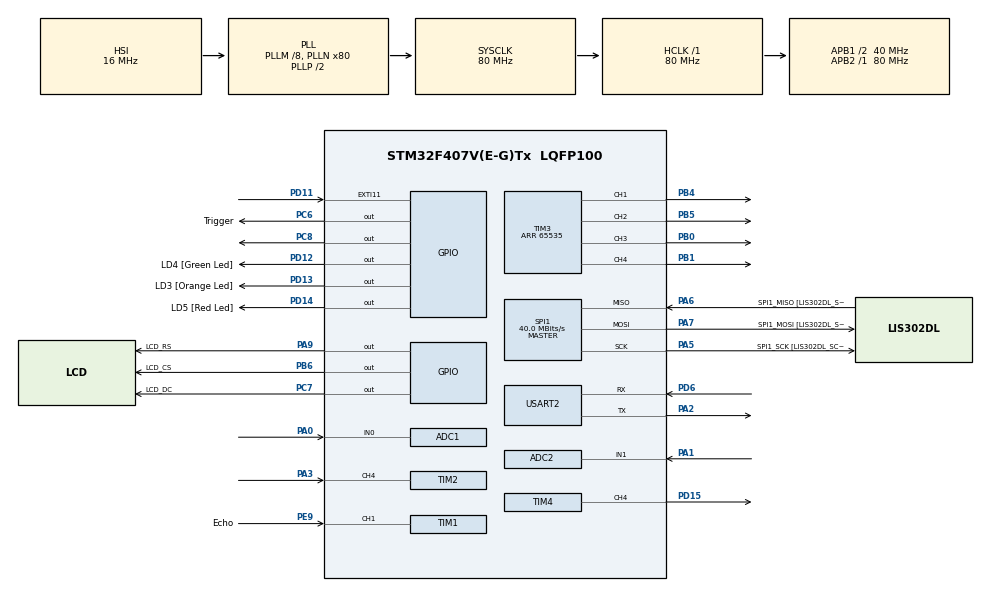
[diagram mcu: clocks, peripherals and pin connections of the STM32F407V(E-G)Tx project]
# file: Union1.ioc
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ADC1.Channel-0\#ChannelRegularConversion=ADC_CHANNEL_0
ADC1.ClockPrescaler=ADC_CLOCK_SYNC_PCLK_DIV4
ADC1.ContinuousConvMode=DISABLE
ADC1.DMAContinuousRequests=DISABLE
ADC1.DataAlign=ADC_DATAALIGN_RIGHT
ADC1.DiscontinuousConvMode=DISABLE
ADC1.EOCSelection=ADC_EOC_SINGLE_CONV
ADC1.EnableAnalogWatchDog=false
ADC1.ExternalTrigConv=ADC_SOFTWARE_START
ADC1.ExternalTrigConvEdge=ADC_EXTERNALTRIGCONVEDGE_NONE
ADC1.InjNumberOfConversion=0
ADC1.NbrOfConversion=1
ADC1.NbrOfConversionFlag=1
ADC1.Rank-0\#ChannelRegularConversion=1
ADC1.Resolution=ADC_RESOLUTION_8B
ADC1.SamplingTime-0\#ChannelRegularConversion=ADC_SAMPLETIME_3CYCLES
ADC1.ScanConvMode=DISABLE
ADC1.master=1
ADC2.Channel-0\#ChannelRegularConversion=ADC_CHANNEL_1
ADC2.ClockPrescaler=ADC_CLOCK_SYNC_PCLK_DIV4
ADC2.ContinuousConvMode=DISABLE
ADC2.DMAContinuousRequests=DISABLE
ADC2.DataAlign=ADC_DATAALIGN_RIGHT
ADC2.DiscontinuousConvMode=DISABLE
ADC2.EOCSelection=ADC_EOC_SINGLE_CONV
ADC2.EnableAnalogWatchDog=false
ADC2.ExternalTrigConv=ADC_SOFTWARE_START
ADC2.ExternalTrigConvEdge=ADC_EXTERNALTRIGCONVEDGE_NONE
ADC2.InjNumberOfConversion=0
ADC2.NbrOfConversion=1
ADC2.NbrOfConversionFlag=1
ADC2.Rank-0\#ChannelRegularConversion=1
ADC2.Resolution=ADC_RESOLUTION_8B
ADC2.SamplingTime-0\#ChannelRegularConversion=ADC_SAMPLETIME_3CYCLES
ADC2.ScanConvMode=DISABLE
Mcu.Family=STM32F4
Mcu.Name=STM32F407V(E-G)Tx
Mcu.Package=LQFP100
NVIC.EXTI15_10_IRQn=true\:0\:0\:false\:false\:true\:true
NVIC.PriorityGroup=NVIC_PRIORITYGROUP_4
NVIC.TIM1_CC_IRQn=true\:0\:0\:false\:false\:true\:true
NVIC.TIM2_IRQn=true\:0\:0\:false\:false\:true\:true
PA0-WKUP.Signal=ADCx_IN0
PA1.Signal=ADCx_IN1
PA10.GPIO_Label=OTG_FS_ID
PA10.GPIO_Mode=GPIO_MODE_AF_PP
PA10.GPIO_PuPd=GPIO_NOPULL
PA10.GPIO_Speed=GPIO_SPEED_FREQ_LOW
PA10.Signal=USB_OTG_FS_ID
PA11.GPIO_Label=OTG_FS_DM
PA11.GPIO_Mode=GPIO_MODE_AF_PP
PA11.GPIO_PuPd=GPIO_NOPULL
PA11.GPIO_Speed=GPIO_SPEED_FREQ_LOW
PA11.Signal=USB_OTG_FS_DM
PA12.GPIO_Label=OTG_FS_DP
PA12.GPIO_Mode=GPIO_MODE_AF_PP
PA12.GPIO_PuPd=GPIO_NOPULL
PA12.GPIO_Speed=GPIO_SPEED_FREQ_LOW
PA12.Signal=USB_OTG_FS_DP
PA13.GPIO_Label=SWDIO
PA13.Signal=SYS_JTMS-SWDIO
PA14.GPIO_Label=SWCLK
PA14.Signal=SYS_JTCK-SWCLK
PA2.Mode=Asynchronous
PA2.Signal=USART2_TX
PA3.Signal=S_TIM2_CH4
PA4.GPIO_Label=I2S3_WS [CS43L22_LRCK]
PA4.GPIO_Mode=GPIO_MODE_AF_PP
PA4.GPIO_PuPd=GPIO_NOPULL
PA4.GPIO_Speed=GPIO_SPEED_FREQ_LOW
PA4.Signal=I2S3_WS
PA5.GPIO_Label=SPI1_SCK [LIS302DL_SCL/SPC]
PA5.GPIO_Mode=GPIO_MODE_AF_PP
PA5.GPIO_PuPd=GPIO_NOPULL
PA5.GPIO_Speed=GPIO_SPEED_FREQ_VERY_HIGH
PA5.Mode=Full_Duplex_Master
PA5.Signal=SPI1_SCK
PA6.GPIO_Label=SPI1_MISO [LIS302DL_SDO]
PA6.GPIO_Mode=GPIO_MODE_AF_PP
PA6.GPIO_PuPd=GPIO_NOPULL
PA6.GPIO_Speed=GPIO_SPEED_FREQ_VERY_HIGH
PA6.Mode=Full_Duplex_Master
PA6.Signal=SPI1_MISO
PA7.GPIO_Label=SPI1_MOSI [LIS302DL_SDA/SDI/SDO]
PA7.GPIO_Mode=GPIO_MODE_AF_PP
PA7.GPIO_PuPd=GPIO_NOPULL
PA7.GPIO_Speed=GPIO_SPEED_FREQ_VERY_HIGH
PA7.Mode=Full_Duplex_Master
PA7.Signal=SPI1_MOSI
PA9.GPIO_Label=LCD_RS
PA9.Signal=GPIO_Output
PB0.Signal=S_TIM3_CH3
PB1.Signal=S_TIM3_CH4
PB10.GPIO_Label=CLK_IN [MP45DT02_CLK]
PB10.GPIO_Mode=GPIO_MODE_AF_PP
PB10.GPIO_PuPd=GPIO_NOPULL
PB10.GPIO_Speed=GPIO_SPEED_FREQ_LOW
PB10.Signal=I2S2_CK
PB3.GPIO_Label=SWO
PB3.Signal=SYS_JTDO-SWO
PB4.Signal=S_TIM3_CH1
PB5.Signal=S_TIM3_CH2
PB6.GPIO_Label=LCD_CS
PB6.Signal=GPIO_Output
PB9.GPIO_Label=Audio_SDA [CS43L22_SDA]
PB9.GPIO_Mode=GPIO_MODE_AF_OD
PB9.GPIO_PuPd=GPIO_NOPULL
PB9.GPIO_Speed=GPIO_SPEED_FREQ_LOW
PB9.Signal=I2C1_SDA
PC10.GPIO_Label=I2S3_SCK [CS43L22_SCLK]
PC10.GPIO_Mode=GPIO_MODE_AF_PP
PC10.GPIO_PuPd=GPIO_NOPULL
PC10.GPIO_Speed=GPIO_SPEED_FREQ_LOW
PC10.Signal=I2S3_CK
PC12.GPIO_Label=I2S3_SD [CS43L22_SDIN]
PC12.GPIO_Mode=GPIO_MODE_AF_PP
PC12.GPIO_PuPd=GPIO_NOPULL
PC12.GPIO_Speed=GPIO_SPEED_FREQ_LOW
PC12.Signal=I2S3_SD
PC14-OSC32_IN.GPIO_Label=PC14-OSC32_IN
PC14-OSC32_IN.Mode=LSE-External-Oscillator
PC14-OSC32_IN.Signal=RCC_OSC32_IN
PC15-OSC32_OUT.GPIO_Label=PC15-OSC32_OUT
PC15-OSC32_OUT.Mode=LSE-External-Oscillator
PC15-OSC32_OUT.Signal=RCC_OSC32_OUT
PC3.GPIO_Label=PDM_OUT [MP45DT02_DOUT]
PC3.GPIO_Mode=GPIO_MODE_AF_PP
PC3.GPIO_PuPd=GPIO_NOPULL
PC3.GPIO_Speed=GPIO_SPEED_FREQ_LOW
PC3.Signal=I2S2_SD
PC6.GPIO_Label=Trigger
PC6.Signal=GPIO_Output
PC7.GPIO_Label=LCD_DC
PC7.Signal=GPIO_Output
PC8.Signal=GPIO_Output
PD11.Signal=GPXTI11
PD12.GPIO_Label=LD4 [Green Led]
PD12.GPIO_PuPd=GPIO_NOPULL
PD12.GPIO_Speed=GPIO_SPEED_FREQ_LOW
PD12.Signal=GPIO_Output
PD13.GPIO_Label=LD3 [Orange Led]
PD13.GPIO_PuPd=GPIO_NOPULL
PD13.GPIO_Speed=GPIO_SPEED_FREQ_LOW
PD13.Signal=GPIO_Output
PD14.GPIO_Label=LD5 [Red Led]
PD14.GPIO_PuPd=GPIO_NOPULL
PD14.GPIO_Speed=GPIO_SPEED_FREQ_LOW
PD14.Signal=GPIO_Output
PD15.Signal=S_TIM4_CH4
PD6.Mode=Asynchronous
PD6.Signal=USART2_RX
PE9.GPIO_Label=Echo
PE9.Signal=S_TIM1_CH1
PH0-OSC_IN.GPIO_Label=PH0-OSC_IN
PH0-OSC_IN.Mode=HSE-External-Oscillator
PH0-OSC_IN.Signal=RCC_OSC_IN
PH1-OSC_OUT.GPIO_Label=PH1-OSC_OUT
PH1-OSC_OUT.Mode=HSE-External-Oscillator
PH1-OSC_OUT.Signal=RCC_OSC_OUT
ProjectManager.HeapSize=0x200
ProjectManager.StackSize=0x400
ProjectManager.TargetToolchain=MDK-ARM V5
RCC.48MHZClocksFreq_Value=22857142.85714286
RCC.AHBFreq_Value=80000000
RCC.APB1CLKDivider=RCC_HCLK_DIV2
RCC.APB1Freq_Value=40000000
RCC.APB1TimFreq_Value=80000000
RCC.APB2Freq_Value=80000000
RCC.APB2TimFreq_Value=80000000
RCC.CortexFreq_Value=80000000
RCC.HCLKFreq_Value=80000000
RCC.HSE_VALUE=8000000
RCC.HSI_VALUE=16000000
RCC.PLLM=8
RCC.PLLN=80
RCC.PLLQ=7
RCC.SYSCLKFreq_VALUE=80000000
RCC.SYSCLKSource=RCC_SYSCLKSOURCE_PLLCLK
RCC.VCOOutputFreq_Value=160000000
SH.ADCx_IN0.0=ADC1_IN0,IN0
SH.ADCx_IN1.0=ADC2_IN1,IN1
SH.S_TIM1_CH1.0=TIM1_CH1,Input_Capture1_from_TI1
SH.S_TIM2_CH4.0=TIM2_CH4,Input_Capture4_from_TI4
SH.S_TIM3_CH1.0=TIM3_CH1,PWM Generation1 CH1
SH.S_TIM3_CH2.0=TIM3_CH2,PWM Generation2 CH2
SH.S_TIM3_CH3.0=TIM3_CH3,PWM Generation3 CH3
SH.S_TIM3_CH4.0=TIM3_CH4,PWM Generation4 CH4
SH.S_TIM4_CH4.0=TIM4_CH4,PWM Generation4 CH4
SPI1.BaudRatePrescaler=SPI_BAUDRATEPRESCALER_2
SPI1.CalculateBaudRate=40.0 MBits/s
SPI1.Direction=SPI_DIRECTION_2LINES
SPI1.Mode=SPI_MODE_MASTER
SPI1.VirtualType=VM_MASTER
TIM1.Channel-Input_Capture1_from_TI1=TIM_CHANNEL_1
TIM1.ICPolarity_CH1=TIM_INPUTCHANNELPOLARITY_BOTHEDGE
TIM1.Period=20000
TIM1.Prescaler=100
TIM2.Channel-Input_Capture4_from_TI4=TIM_CHANNEL_4
TIM2.ICFilter_CH4=15
TIM2.Period=100000
TIM2.Prescaler=16000
TIM3.Channel-PWM\ Generation1\ CH1=TIM_CHANNEL_1
TIM3.Channel-PWM\ Generation2\ CH2=TIM_CHANNEL_2
TIM3.Channel-PWM\ Generation3\ CH3=TIM_CHANNEL_3
TIM3.Channel-PWM\ Generation4\ CH4=TIM_CHANNEL_4
TIM3.Period=65535
TIM4.Channel-PWM\ Generation4\ CH4=TIM_CHANNEL_4
TIM4.Period=625
TIM4.Prescaler=10
TIM4.Pulse-PWM\ Generation4\ CH4=100
USART2.VirtualMode=VM_ASYNC
VP_TIM1_VS_ClockSourceINT.Mode=Internal
VP_TIM2_VS_ClockSourceINT.Mode=Internal
VP_TIM3_VS_ClockSourceINT.Mode=Internal
VP_TIM4_VS_ClockSourceINT.Mode=Internal
board=STM32F4DISCOVERY

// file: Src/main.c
/**
  ******************************************************************************
  * @file           : main.c
  * @brief          : Main program body
  ******************************************************************************
  ** This notice applies to any and all portions of this file
  * that are not between comment pairs USER CODE BEGIN and
  * USER CODE END. Other portions of this file, whether
  * inserted by the user or by software development tools
  * are owned by their respective copyright owners.
  *
  * COPYRIGHT(c) 2019 STMicroelectronics
  *
  * Redistribution and use in source and binary forms, with or without modification,
  * are permitted provided that the following conditions are met:
  *   1. Redistributions of source code must retain the above copyright notice,
  *      this list of conditions and the following disclaimer.
  *   2. Redistributions in binary form must reproduce the above copyright notice,
  *      this list of conditions and the following disclaimer in the documentation
  *      and/or other materials provided with the distribution.
  *   3. Neither the name of STMicroelectronics nor the names of its contributors
  *      may be used to endorse or promote products derived from this software
  *      without specific prior written permission.
  *
  * THIS SOFTWARE IS PROVIDED BY THE COPYRIGHT HOLDERS AND CONTRIBUTORS "AS IS"
  * AND ANY EXPRESS OR IMPLIED WARRANTIES, INCLUDING, BUT NOT LIMITED TO, THE
  * IMPLIED WARRANTIES OF MERCHANTABILITY AND FITNESS FOR A PARTICULAR PURPOSE ARE
  * DISCLAIMED. IN NO EVENT SHALL THE COPYRIGHT HOLDER OR CONTRIBUTORS BE LIABLE
  * FOR ANY DIRECT, INDIRECT, INCIDENTAL, SPECIAL, EXEMPLARY, OR CONSEQUENTIAL
  * DAMAGES (INCLUDING, BUT NOT LIMITED TO, PROCUREMENT OF SUBSTITUTE GOODS OR
  * SERVICES; LOSS OF USE, DATA, OR PROFITS; OR BUSINESS INTERRUPTION) HOWEVER
  * CAUSED AND ON ANY THEORY OF LIABILITY, WHETHER IN CONTRACT, STRICT LIABILITY,
  * OR TORT (INCLUDING NEGLIGENCE OR OTHERWISE) ARISING IN ANY WAY OUT OF THE USE
  * OF THIS SOFTWARE, EVEN IF ADVISED OF THE POSSIBILITY OF SUCH DAMAGE.
  *
  ******************************************************************************
  */
#include "main.h"
#include "stm32f4xx_hal.h"

/* USER CODE BEGIN Includes */
#include "MY_ILI9341.h"
/* USER CODE END Includes */

ADC_HandleTypeDef hadc1;
ADC_HandleTypeDef hadc2;

SPI_HandleTypeDef hspi1;

TIM_HandleTypeDef htim1;
TIM_HandleTypeDef htim2;
TIM_HandleTypeDef htim3;
TIM_HandleTypeDef htim4;

UART_HandleTypeDef huart2;

/* USER CODE BEGIN PV */
/* Private variables ---------------------------------------------------------*/
ADC_HandleTypeDef hadc1;
ADC_HandleTypeDef hadc2;
/* USER CODE END PV */

void SystemClock_Config(void);
static void MX_GPIO_Init(void);
static void MX_ADC1_Init(void);
static void MX_TIM1_Init(void);
static void MX_TIM2_Init(void);
static void MX_TIM4_Init(void);
static void MX_ADC2_Init(void);
static void MX_TIM3_Init(void);
static void MX_SPI1_Init(void);
static void MX_USART2_UART_Init(void);

void HAL_TIM_MspPostInit(TIM_HandleTypeDef *htim);

/* USER CODE BEGIN PFP */
/* Private function prototypes -----------------------------------------------*/

void Dibujado_Pantalla(void);//Dibujamos la interface inicial
void Dibujado_on(int X); //Funcion dibujo rectangulo verde en pantalla, se envia posicion como parametro
void Dibujado_off(int X);//Funcion dibujo rectangulo rojo en pantalla, se envia posicion como parametro
void Inte_Debounce(void);
void Inte_Tempo(void);
void Ultrasonidos(void);
void Potenciometro(void);
void Dibujado_Potenciometro(int V);
void LDR_ (void);

/* USER CODE END PFP */

/* USER CODE BEGIN 0 */
//Variables para el interruptor con temporizacion
uint32_t counterVal;
uint32_t inputCaptureVal;

//sensor de proximidad

//uint16_t timer=0;
//uint16_t pmw;
 //volatile uint16_t reflextime=0;
float distancia=0;
uint16_t echo=0;
volatile int aux=0;
int aux1=0;
int aux2=0;
int aux3=0;

//uint32_t echodelay1=0;
 //uint32_t echodelay=0;
uint32_t counterVal1;
uint32_t inputCaptureVal1=0;
uint32_t inputCaptureVal2=0;

//Callback, se llama cuando se presiona el botСn PA3
void HAL_TIM_IC_CaptureCallback(TIM_HandleTypeDef *htim)
{
  /* Prevent unused argument(s) compilation warning */
  //UNUSED(htim);
  /* NOTE : This function Should not be modified, when the callback is needed,
            the __HAL_TIM_IC_CaptureCallback could be implemented in the user file
   */
	//Comprobar que viene del timer 2

	if (htim->Instance==TIM2)
		{
		inputCaptureVal = __HAL_TIM_GetCounter(htim);
		__HAL_TIM_SetCounter(htim,0);

	  }

		//Parte de la interrupcion para medir el pulso de sensor de ultrasonidos
		if ( htim->Instance==TIM1==1){

			inputCaptureVal1 = __HAL_TIM_GetCounter(htim);
		__HAL_TIM_SetCounter(htim,0);

   }

}

//Variables para el interruptor debounce

uint16_t Statein1=0;//estaba a 3
uint16_t LEDFlash=0;//no se usa ahora

uint16_t estadoA=0;
uint16_t estadoB=1;

void ConfigureSystick(void)
{
	if(SysTick_Config(SystemCoreClock/1000))
	{
		while(1);
	}
}

//sensor de proximidad

//Callback, para el sensor de ultrasonido ,como se repite ,lo he introducido con el de la temporizacion del interruptor

/*void HAL_TIM_IC_CaptureCallback(TIM_HandleTypeDef *htim)
{

	//Comprobar que viene del timer 2
	if ( htim->Instance==TIM1==1){

			inputCaptureVal1 = __HAL_TIM_GetCounter(htim);
		__HAL_TIM_SetCounter(htim,0);

   }
}
*/
//Variables del potenciometro
volatile uint8_t ADC_val;
volatile uint8_t duty_cycle;

//VARIABLES DEL LDR
 int PWM=0;
int a=1;
uint32_t LDR=0;
int timer=0;

/* USER CODE END 0 */

int main(void)
{

  /* MCU Configuration----------------------------------------------------------*/

  /* Reset of all peripherals, Initializes the Flash interface and the Systick. */
  HAL_Init();

  /* Configure the system clock */
  SystemClock_Config();

  /* Initialize all configured peripherals */
  MX_GPIO_Init();
  MX_ADC1_Init();
  MX_TIM1_Init();
  MX_TIM2_Init();
  MX_TIM4_Init();
  MX_ADC2_Init();
  MX_TIM3_Init();
  MX_SPI1_Init();
  MX_USART2_UART_Init();
  /* USER CODE BEGIN 2 */

		Dibujado_Pantalla();
  	Dibujado_off(60);
		HAL_TIM_IC_Start_IT(&htim2,TIM_CHANNEL_4);
	//temp de echo
	HAL_TIM_IC_Start_IT(&htim1,TIM_CHANNEL_1);
	//led del ldr
	HAL_TIM_PWM_Start(&htim3, TIM_CHANNEL_2);//Inicializamos los canales
HAL_TIM_PWM_Start(&htim3, TIM_CHANNEL_3);
HAL_TIM_PWM_Start(&htim3, TIM_CHANNEL_4);
HAL_TIM_PWM_Start(&htim3, TIM_CHANNEL_1);//todos cambiados a htim3
HAL_ADC_Start (&hadc2);//cambiado a hadcl2
TIM3->CCR1=50000;

//potenciometro para regular la intensidad
 HAL_TIM_PWM_Start(&htim4, TIM_CHANNEL_4);

 //variables del ldr
/* int PWM=0;
int a=1;
uint32_t LDR=0;
int timer=0;*/

  /* USER CODE END 2 */

  /* Infinite loop */
  while (1)
  {

  /* USER CODE BEGIN 3 */

Inte_Debounce();
Inte_Tempo();
Ultrasonidos();
Potenciometro();

  }
  /* USER CODE END 3 */

}

void SystemClock_Config(void)
{

  RCC_OscInitTypeDef RCC_OscInitStruct;
  RCC_ClkInitTypeDef RCC_ClkInitStruct;

    /**Configure the main internal regulator output voltage
    */
  __HAL_RCC_PWR_CLK_ENABLE();

  __HAL_PWR_VOLTAGESCALING_CONFIG(PWR_REGULATOR_VOLTAGE_SCALE1);

    /**Initializes the CPU, AHB and APB busses clocks
    */
  RCC_OscInitStruct.OscillatorType = RCC_OSCILLATORTYPE_HSI;
  RCC_OscInitStruct.HSIState = RCC_HSI_ON;
  RCC_OscInitStruct.HSICalibrationValue = 16;
  RCC_OscInitStruct.PLL.PLLState = RCC_PLL_ON;
  RCC_OscInitStruct.PLL.PLLSource = RCC_PLLSOURCE_HSI;
  RCC_OscInitStruct.PLL.PLLM = 8;
  RCC_OscInitStruct.PLL.PLLN = 80;
  RCC_OscInitStruct.PLL.PLLP = RCC_PLLP_DIV2;
  RCC_OscInitStruct.PLL.PLLQ = 7;
  if (HAL_RCC_OscConfig(&RCC_OscInitStruct) != HAL_OK)
  {
    _Error_Handler(__FILE__, __LINE__);
  }

    /**Initializes the CPU, AHB and APB busses clocks
    */
  RCC_ClkInitStruct.ClockType = RCC_CLOCKTYPE_HCLK|RCC_CLOCKTYPE_SYSCLK
                              |RCC_CLOCKTYPE_PCLK1|RCC_CLOCKTYPE_PCLK2;
  RCC_ClkInitStruct.SYSCLKSource = RCC_SYSCLKSOURCE_PLLCLK;
  RCC_ClkInitStruct.AHBCLKDivider = RCC_SYSCLK_DIV1;
  RCC_ClkInitStruct.APB1CLKDivider = RCC_HCLK_DIV2;
  RCC_ClkInitStruct.APB2CLKDivider = RCC_HCLK_DIV1;

  if (HAL_RCC_ClockConfig(&RCC_ClkInitStruct, FLASH_LATENCY_2) != HAL_OK)
  {
    _Error_Handler(__FILE__, __LINE__);
  }

    /**Configure the Systick interrupt time
    */
  HAL_SYSTICK_Config(HAL_RCC_GetHCLKFreq()/1000);

    /**Configure the Systick
    */
  HAL_SYSTICK_CLKSourceConfig(SYSTICK_CLKSOURCE_HCLK);

  /* SysTick_IRQn interrupt configuration */
  HAL_NVIC_SetPriority(SysTick_IRQn, 0, 0);
}

/* ADC1 init function */
static void MX_ADC1_Init(void)
{

  ADC_ChannelConfTypeDef sConfig;

    /**Configure the global features of the ADC (Clock, Resolution, Data Alignment and number of conversion)
    */
  hadc1.Instance = ADC1;
  hadc1.Init.ClockPrescaler = ADC_CLOCK_SYNC_PCLK_DIV4;
  hadc1.Init.Resolution = ADC_RESOLUTION_8B;
  hadc1.Init.ScanConvMode = DISABLE;
  hadc1.Init.ContinuousConvMode = DISABLE;
  hadc1.Init.DiscontinuousConvMode = DISABLE;
  hadc1.Init.ExternalTrigConvEdge = ADC_EXTERNALTRIGCONVEDGE_NONE;
  hadc1.Init.ExternalTrigConv = ADC_SOFTWARE_START;
  hadc1.Init.DataAlign = ADC_DATAALIGN_RIGHT;
  hadc1.Init.NbrOfConversion = 1;
  hadc1.Init.DMAContinuousRequests = DISABLE;
  hadc1.Init.EOCSelection = ADC_EOC_SINGLE_CONV;
  if (HAL_ADC_Init(&hadc1) != HAL_OK)
  {
    _Error_Handler(__FILE__, __LINE__);
  }

    /**Configure for the selected ADC regular channel its corresponding rank in the sequencer and its sample time.
    */
  sConfig.Channel = ADC_CHANNEL_0;
  sConfig.Rank = 1;
  sConfig.SamplingTime = ADC_SAMPLETIME_3CYCLES;
  if (HAL_ADC_ConfigChannel(&hadc1, &sConfig) != HAL_OK)
  {
    _Error_Handler(__FILE__, __LINE__);
  }

}

/* ADC2 init function */
static void MX_ADC2_Init(void)
{

  ADC_ChannelConfTypeDef sConfig;

    /**Configure the global features of the ADC (Clock, Resolution, Data Alignment and number of conversion)
    */
  hadc2.Instance = ADC2;
  hadc2.Init.ClockPrescaler = ADC_CLOCK_SYNC_PCLK_DIV4;
  hadc2.Init.Resolution = ADC_RESOLUTION_8B;
  hadc2.Init.ScanConvMode = DISABLE;
  hadc2.Init.ContinuousConvMode = DISABLE;
  hadc2.Init.DiscontinuousConvMode = DISABLE;
  hadc2.Init.ExternalTrigConvEdge = ADC_EXTERNALTRIGCONVEDGE_NONE;
  hadc2.Init.ExternalTrigConv = ADC_SOFTWARE_START;
  hadc2.Init.DataAlign = ADC_DATAALIGN_RIGHT;
  hadc2.Init.NbrOfConversion = 1;
  hadc2.Init.DMAContinuousRequests = DISABLE;
  hadc2.Init.EOCSelection = ADC_EOC_SINGLE_CONV;
  if (HAL_ADC_Init(&hadc2) != HAL_OK)
  {
    _Error_Handler(__FILE__, __LINE__);
  }

    /**Configure for the selected ADC regular channel its corresponding rank in the sequencer and its sample time.
    */
  sConfig.Channel = ADC_CHANNEL_1;
  sConfig.Rank = 1;
  sConfig.SamplingTime = ADC_SAMPLETIME_3CYCLES;
  if (HAL_ADC_ConfigChannel(&hadc2, &sConfig) != HAL_OK)
  {
    _Error_Handler(__FILE__, __LINE__);
  }

}

/* SPI1 init function */
static void MX_SPI1_Init(void)
{

  /* SPI1 parameter configuration*/
  hspi1.Instance = SPI1;
  hspi1.Init.Mode = SPI_MODE_MASTER;
  hspi1.Init.Direction = SPI_DIRECTION_2LINES;
  hspi1.Init.DataSize = SPI_DATASIZE_8BIT;
  hspi1.Init.CLKPolarity = SPI_POLARITY_LOW;
  hspi1.Init.CLKPhase = SPI_PHASE_1EDGE;
  hspi1.Init.NSS = SPI_NSS_SOFT;
  hspi1.Init.BaudRatePrescaler = SPI_BAUDRATEPRESCALER_2;
  hspi1.Init.FirstBit = SPI_FIRSTBIT_MSB;
  hspi1.Init.TIMode = SPI_TIMODE_DISABLE;
  hspi1.Init.CRCCalculation = SPI_CRCCALCULATION_DISABLE;
  hspi1.Init.CRCPolynomial = 10;
  if (HAL_SPI_Init(&hspi1) != HAL_OK)
  {
    _Error_Handler(__FILE__, __LINE__);
  }

}

/* TIM1 init function */
static void MX_TIM1_Init(void)
{

  TIM_ClockConfigTypeDef sClockSourceConfig;
  TIM_MasterConfigTypeDef sMasterConfig;
  TIM_IC_InitTypeDef sConfigIC;

  htim1.Instance = TIM1;
  htim1.Init.Prescaler = 100;
  htim1.Init.CounterMode = TIM_COUNTERMODE_UP;
  htim1.Init.Period = 20000;
  htim1.Init.ClockDivision = TIM_CLOCKDIVISION_DIV1;
  htim1.Init.RepetitionCounter = 0;
  if (HAL_TIM_Base_Init(&htim1) != HAL_OK)
  {
    _Error_Handler(__FILE__, __LINE__);
  }

  sClockSourceConfig.ClockSource = TIM_CLOCKSOURCE_INTERNAL;
  if (HAL_TIM_ConfigClockSource(&htim1, &sClockSourceConfig) != HAL_OK)
  {
    _Error_Handler(__FILE__, __LINE__);
  }

  if (HAL_TIM_IC_Init(&htim1) != HAL_OK)
  {
    _Error_Handler(__FILE__, __LINE__);
  }

  sMasterConfig.MasterOutputTrigger = TIM_TRGO_RESET;
  sMasterConfig.MasterSlaveMode = TIM_MASTERSLAVEMODE_DISABLE;
  if (HAL_TIMEx_MasterConfigSynchronization(&htim1, &sMasterConfig) != HAL_OK)
  {
    _Error_Handler(__FILE__, __LINE__);
  }

  sConfigIC.ICPolarity = TIM_INPUTCHANNELPOLARITY_BOTHEDGE;
  sConfigIC.ICSelection = TIM_ICSELECTION_DIRECTTI;
  sConfigIC.ICPrescaler = TIM_ICPSC_DIV1;
  sConfigIC.ICFilter = 0;
  if (HAL_TIM_IC_ConfigChannel(&htim1, &sConfigIC, TIM_CHANNEL_1) != HAL_OK)
  {
    _Error_Handler(__FILE__, __LINE__);
  }

}

/* TIM2 init function */
static void MX_TIM2_Init(void)
{

  TIM_ClockConfigTypeDef sClockSourceConfig;
  TIM_MasterConfigTypeDef sMasterConfig;
  TIM_IC_InitTypeDef sConfigIC;

  htim2.Instance = TIM2;
  htim2.Init.Prescaler = 16000;
  htim2.Init.CounterMode = TIM_COUNTERMODE_UP;
  htim2.Init.Period = 100000;
  htim2.Init.ClockDivision = TIM_CLOCKDIVISION_DIV1;
  if (HAL_TIM_Base_Init(&htim2) != HAL_OK)
  {
    _Error_Handler(__FILE__, __LINE__);
  }

  sClockSourceConfig.ClockSource = TIM_CLOCKSOURCE_INTERNAL;
  if (HAL_TIM_ConfigClockSource(&htim2, &sClockSourceConfig) != HAL_OK)
  {
    _Error_Handler(__FILE__, __LINE__);
  }

  if (HAL_TIM_IC_Init(&htim2) != HAL_OK)
  {
    _Error_Handler(__FILE__, __LINE__);
  }

  sMasterConfig.MasterOutputTrigger = TIM_TRGO_RESET;
  sMasterConfig.MasterSlaveMode = TIM_MASTERSLAVEMODE_DISABLE;
  if (HAL_TIMEx_MasterConfigSynchronization(&htim2, &sMasterConfig) != HAL_OK)
  {
    _Error_Handler(__FILE__, __LINE__);
  }

  sConfigIC.ICPolarity = TIM_INPUTCHANNELPOLARITY_RISING;
  sConfigIC.ICSelection = TIM_ICSELECTION_DIRECTTI;
  sConfigIC.ICPrescaler = TIM_ICPSC_DIV1;
  sConfigIC.ICFilter = 15;
  if (HAL_TIM_IC_ConfigChannel(&htim2, &sConfigIC, TIM_CHANNEL_4) != HAL_OK)
  {
    _Error_Handler(__FILE__, __LINE__);
  }

}

/* TIM3 init function */
static void MX_TIM3_Init(void)
{

  TIM_ClockConfigTypeDef sClockSourceConfig;
  TIM_MasterConfigTypeDef sMasterConfig;
  TIM_OC_InitTypeDef sConfigOC;

  htim3.Instance = TIM3;
  htim3.Init.Prescaler = 0;
  htim3.Init.CounterMode = TIM_COUNTERMODE_UP;
  htim3.Init.Period = 65535;
  htim3.Init.ClockDivision = TIM_CLOCKDIVISION_DIV1;
  if (HAL_TIM_Base_Init(&htim3) != HAL_OK)
  {
    _Error_Handler(__FILE__, __LINE__);
  }

  sClockSourceConfig.ClockSource = TIM_CLOCKSOURCE_INTERNAL;
  if (HAL_TIM_ConfigClockSource(&htim3, &sClockSourceConfig) != HAL_OK)
  {
    _Error_Handler(__FILE__, __LINE__);
  }

  if (HAL_TIM_PWM_Init(&htim3) != HAL_OK)
  {
    _Error_Handler(__FILE__, __LINE__);
  }

  sMasterConfig.MasterOutputTrigger = TIM_TRGO_RESET;
  sMasterConfig.MasterSlaveMode = TIM_MASTERSLAVEMODE_DISABLE;
  if (HAL_TIMEx_MasterConfigSynchronization(&htim3, &sMasterConfig) != HAL_OK)
  {
    _Error_Handler(__FILE__, __LINE__);
  }

  sConfigOC.OCMode = TIM_OCMODE_PWM1;
  sConfigOC.Pulse = 0;
  sConfigOC.OCPolarity = TIM_OCPOLARITY_HIGH;
  sConfigOC.OCFastMode = TIM_OCFAST_DISABLE;
  if (HAL_TIM_PWM_ConfigChannel(&htim3, &sConfigOC, TIM_CHANNEL_1) != HAL_OK)
  {
    _Error_Handler(__FILE__, __LINE__);
  }

  if (HAL_TIM_PWM_ConfigChannel(&htim3, &sConfigOC, TIM_CHANNEL_2) != HAL_OK)
  {
    _Error_Handler(__FILE__, __LINE__);
  }

  if (HAL_TIM_PWM_ConfigChannel(&htim3, &sConfigOC, TIM_CHANNEL_3) != HAL_OK)
  {
    _Error_Handler(__FILE__, __LINE__);
  }

  if (HAL_TIM_PWM_ConfigChannel(&htim3, &sConfigOC, TIM_CHANNEL_4) != HAL_OK)
  {
    _Error_Handler(__FILE__, __LINE__);
  }

  HAL_TIM_MspPostInit(&htim3);

}

/* TIM4 init function */
static void MX_TIM4_Init(void)
{

  TIM_ClockConfigTypeDef sClockSourceConfig;
  TIM_MasterConfigTypeDef sMasterConfig;
  TIM_OC_InitTypeDef sConfigOC;

  htim4.Instance = TIM4;
  htim4.Init.Prescaler = 10;
  htim4.Init.CounterMode = TIM_COUNTERMODE_UP;
  htim4.Init.Period = 625;
  htim4.Init.ClockDivision = TIM_CLOCKDIVISION_DIV1;
  if (HAL_TIM_Base_Init(&htim4) != HAL_OK)
  {
    _Error_Handler(__FILE__, __LINE__);
  }

  sClockSourceConfig.ClockSource = TIM_CLOCKSOURCE_INTERNAL;
  if (HAL_TIM_ConfigClockSource(&htim4, &sClockSourceConfig) != HAL_OK)
  {
    _Error_Handler(__FILE__, __LINE__);
  }

  if (HAL_TIM_PWM_Init(&htim4) != HAL_OK)
  {
    _Error_Handler(__FILE__, __LINE__);
  }

  sMasterConfig.MasterOutputTrigger = TIM_TRGO_RESET;
  sMasterConfig.MasterSlaveMode = TIM_MASTERSLAVEMODE_DISABLE;
  if (HAL_TIMEx_MasterConfigSynchronization(&htim4, &sMasterConfig) != HAL_OK)
  {
    _Error_Handler(__FILE__, __LINE__);
  }

  sConfigOC.OCMode = TIM_OCMODE_PWM1;
  sConfigOC.Pulse = 100;
  sConfigOC.OCPolarity = TIM_OCPOLARITY_HIGH;
  sConfigOC.OCFastMode = TIM_OCFAST_DISABLE;
  if (HAL_TIM_PWM_ConfigChannel(&htim4, &sConfigOC, TIM_CHANNEL_4) != HAL_OK)
  {
    _Error_Handler(__FILE__, __LINE__);
  }

  HAL_TIM_MspPostInit(&htim4);

}

/* USART2 init function */
static void MX_USART2_UART_Init(void)
{

  huart2.Instance = USART2;
  huart2.Init.BaudRate = 115200;
  huart2.Init.WordLength = UART_WORDLENGTH_8B;
  huart2.Init.StopBits = UART_STOPBITS_1;
  huart2.Init.Parity = UART_PARITY_NONE;
  huart2.Init.Mode = UART_MODE_TX_RX;
  huart2.Init.HwFlowCtl = UART_HWCONTROL_NONE;
  huart2.Init.OverSampling = UART_OVERSAMPLING_16;
  if (HAL_UART_Init(&huart2) != HAL_OK)
  {
    _Error_Handler(__FILE__, __LINE__);
  }

}

/** Configure pins as
        * Analog
        * Input
        * Output
        * EVENT_OUT
        * EXTI
     PC3   ------> I2S2_SD
     PA4   ------> I2S3_WS
     PB10   ------> I2S2_CK
     PA10   ------> USB_OTG_FS_ID
     PA11   ------> USB_OTG_FS_DM
     PA12   ------> USB_OTG_FS_DP
     PC10   ------> I2S3_CK
     PC12   ------> I2S3_SD
     PB9   ------> I2C1_SDA
*/
static void MX_GPIO_Init(void)
{

  GPIO_InitTypeDef GPIO_InitStruct;

  /* GPIO Ports Clock Enable */
  __HAL_RCC_GPIOC_CLK_ENABLE();
  __HAL_RCC_GPIOH_CLK_ENABLE();
  __HAL_RCC_GPIOA_CLK_ENABLE();
  __HAL_RCC_GPIOB_CLK_ENABLE();
  __HAL_RCC_GPIOE_CLK_ENABLE();
  __HAL_RCC_GPIOD_CLK_ENABLE();

  /*Configure GPIO pin Output Level */
  HAL_GPIO_WritePin(GPIOD, LD4_Pin|LD3_Pin|LD5_Pin, GPIO_PIN_RESET);

  /*Configure GPIO pin Output Level */
  HAL_GPIO_WritePin(GPIOC, Trigger_Pin|LCD_DC_Pin|GPIO_PIN_8, GPIO_PIN_RESET);

  /*Configure GPIO pin Output Level */
  HAL_GPIO_WritePin(LCD_RS_GPIO_Port, LCD_RS_Pin, GPIO_PIN_RESET);

  /*Configure GPIO pin Output Level */
  HAL_GPIO_WritePin(LCD_CS_GPIO_Port, LCD_CS_Pin, GPIO_PIN_RESET);

  /*Configure GPIO pin : PDM_OUT_Pin */
  GPIO_InitStruct.Pin = PDM_OUT_Pin;
  GPIO_InitStruct.Mode = GPIO_MODE_AF_PP;
  GPIO_InitStruct.Pull = GPIO_NOPULL;
  GPIO_InitStruct.Speed = GPIO_SPEED_FREQ_LOW;
  GPIO_InitStruct.Alternate = GPIO_AF5_SPI2;
  HAL_GPIO_Init(PDM_OUT_GPIO_Port, &GPIO_InitStruct);

  /*Configure GPIO pin : I2S3_WS_Pin */
  GPIO_InitStruct.Pin = I2S3_WS_Pin;
  GPIO_InitStruct.Mode = GPIO_MODE_AF_PP;
  GPIO_InitStruct.Pull = GPIO_NOPULL;
  GPIO_InitStruct.Speed = GPIO_SPEED_FREQ_LOW;
  GPIO_InitStruct.Alternate = GPIO_AF6_SPI3;
  HAL_GPIO_Init(I2S3_WS_GPIO_Port, &GPIO_InitStruct);

  /*Configure GPIO pin : CLK_IN_Pin */
  GPIO_InitStruct.Pin = CLK_IN_Pin;
  GPIO_InitStruct.Mode = GPIO_MODE_AF_PP;
  GPIO_InitStruct.Pull = GPIO_NOPULL;
  GPIO_InitStruct.Speed = GPIO_SPEED_FREQ_LOW;
  GPIO_InitStruct.Alternate = GPIO_AF5_SPI2;
  HAL_GPIO_Init(CLK_IN_GPIO_Port, &GPIO_InitStruct);

  /*Configure GPIO pin : PD11 */
  GPIO_InitStruct.Pin = GPIO_PIN_11;
  GPIO_InitStruct.Mode = GPIO_MODE_IT_RISING;
  GPIO_InitStruct.Pull = GPIO_NOPULL;
  HAL_GPIO_Init(GPIOD, &GPIO_InitStruct);

  /*Configure GPIO pins : LD4_Pin LD3_Pin LD5_Pin */
  GPIO_InitStruct.Pin = LD4_Pin|LD3_Pin|LD5_Pin;
  GPIO_InitStruct.Mode = GPIO_MODE_OUTPUT_PP;
  GPIO_InitStruct.Pull = GPIO_NOPULL;
  GPIO_InitStruct.Speed = GPIO_SPEED_FREQ_LOW;
  HAL_GPIO_Init(GPIOD, &GPIO_InitStruct);

  /*Configure GPIO pins : Trigger_Pin LCD_DC_Pin PC8 */
  GPIO_InitStruct.Pin = Trigger_Pin|LCD_DC_Pin|GPIO_PIN_8;
  GPIO_InitStruct.Mode = GPIO_MODE_OUTPUT_PP;
  GPIO_InitStruct.Pull = GPIO_NOPULL;
  GPIO_InitStruct.Speed = GPIO_SPEED_FREQ_LOW;
  HAL_GPIO_Init(GPIOC, &GPIO_InitStruct);

  /*Configure GPIO pin : LCD_RS_Pin */
  GPIO_InitStruct.Pin = LCD_RS_Pin;
  GPIO_InitStruct.Mode = GPIO_MODE_OUTPUT_PP;
  GPIO_InitStruct.Pull = GPIO_NOPULL;
  GPIO_InitStruct.Speed = GPIO_SPEED_FREQ_LOW;
  HAL_GPIO_Init(LCD_RS_GPIO_Port, &GPIO_InitStruct);

  /*Configure GPIO pins : OTG_FS_ID_Pin OTG_FS_DM_Pin OTG_FS_DP_Pin */
  GPIO_InitStruct.Pin = OTG_FS_ID_Pin|OTG_FS_DM_Pin|OTG_FS_DP_Pin;
  GPIO_InitStruct.Mode = GPIO_MODE_AF_PP;
  GPIO_InitStruct.Pull = GPIO_NOPULL;
  GPIO_InitStruct.Speed = GPIO_SPEED_FREQ_LOW;
  GPIO_InitStruct.Alternate = GPIO_AF10_OTG_FS;
  HAL_GPIO_Init(GPIOA, &GPIO_InitStruct);

  /*Configure GPIO pins : I2S3_SCK_Pin I2S3_SD_Pin */
  GPIO_InitStruct.Pin = I2S3_SCK_Pin|I2S3_SD_Pin;
  GPIO_InitStruct.Mode = GPIO_MODE_AF_PP;
  GPIO_InitStruct.Pull = GPIO_NOPULL;
  GPIO_InitStruct.Speed = GPIO_SPEED_FREQ_LOW;
  GPIO_InitStruct.Alternate = GPIO_AF6_SPI3;
  HAL_GPIO_Init(GPIOC, &GPIO_InitStruct);

  /*Configure GPIO pin : LCD_CS_Pin */
  GPIO_InitStruct.Pin = LCD_CS_Pin;
  GPIO_InitStruct.Mode = GPIO_MODE_OUTPUT_PP;
  GPIO_InitStruct.Pull = GPIO_NOPULL;
  GPIO_InitStruct.Speed = GPIO_SPEED_FREQ_LOW;
  HAL_GPIO_Init(LCD_CS_GPIO_Port, &GPIO_InitStruct);

  /*Configure GPIO pin : Audio_SDA_Pin */
  GPIO_InitStruct.Pin = Audio_SDA_Pin;
  GPIO_InitStruct.Mode = GPIO_MODE_AF_OD;
  GPIO_InitStruct.Pull = GPIO_PULLUP;
  GPIO_InitStruct.Speed = GPIO_SPEED_FREQ_LOW;
  GPIO_InitStruct.Alternate = GPIO_AF4_I2C1;
  HAL_GPIO_Init(Audio_SDA_GPIO_Port, &GPIO_InitStruct);

  /* EXTI interrupt init*/
  HAL_NVIC_SetPriority(EXTI15_10_IRQn, 0, 0);
  HAL_NVIC_EnableIRQ(EXTI15_10_IRQn);

}

/* USER CODE BEGIN 4 */
void Dibujado_Pantalla()
{
	//INICIACION PANTALLA
ILI9341_Init(&hspi1, LCD_CS_GPIO_Port, LCD_CS_Pin, LCD_DC_GPIO_Port, LCD_DC_Pin, LCD_RS_GPIO_Port, LCD_RS_Pin);
ILI9341_setRotation(2);

//DIBUJADO INTERFACE PANTALLA
ILI9341_Fill(COLOR_BLACK);
ILI9341_Fill_Rect(0,0,320,40,COLOR_ORANGE);
ILI9341_Fill_Rect(0,210,320,240,COLOR_DGRAY);
ILI9341_drawFastHLine(0,0,320,COLOR_BLUE);
ILI9341_drawFastHLine(0,240,320,COLOR_BLUE);
ILI9341_drawFastHLine(0,210,320,COLOR_BLUE);
ILI9341_drawFastHLine(0,40,320,COLOR_BLUE);
ILI9341_drawFastVLine(0,0,240,COLOR_BLUE);
ILI9341_drawFastVLine(320,0,240,COLOR_BLUE);
ILI9341_printText("Sistema Domotico de Iluminacion",70,18,COLOR_GREENYELLOW,COLOR_ORANGE,1);
ILI9341_printText("Sistemas Electronicos Digitales ",10,222,COLOR_YELLOW,COLOR_DGRAY,1);
ILI9341_printText("Christopher Enga ",210,215,COLOR_YELLOW,COLOR_DGRAY,1);
ILI9341_printText("Enrique Mateos",215,228,COLOR_YELLOW,COLOR_DGRAY,1);
ILI9341_fillCircle(30,20,15,COLOR_BLUE);
ILI9341_fillCircle(290,20,15,COLOR_BLUE);
ILI9341_fillCircle(30,20,7,COLOR_YELLOW);
ILI9341_fillCircle(290,20,7,COLOR_YELLOW);
ILI9341_printText("Luz Temporizada",20,60,COLOR_WHITE,COLOR_BLACK,1);
ILI9341_printText("Interruptor Debounce",20,90,COLOR_WHITE,COLOR_BLACK,1);
ILI9341_printText("Luz Proximidad ",20,120,COLOR_WHITE,COLOR_BLACK,1);
ILI9341_printText("Dimmer Potenciometro",20,150,COLOR_WHITE,COLOR_BLACK,1);
//ILI9341_printText("Funciones",20,180,COLOR_WHITE,COLOR_BLACK,1);

ILI9341_printText("ON",190,50,COLOR_WHITE,COLOR_BLACK,1);
ILI9341_printText("OFF",258,50,COLOR_WHITE,COLOR_BLACK,1);

//ILI9341_Fill_Rect(250,60,280,70,COLOR_RED);
//ILI9341_Fill_Rect(180,60,210,70,COLOR_GREEN);
//ILI9341_Fill_Rect(250,90,280,100,COLOR_RED);
//ILI9341_Fill_Rect(180,90,210,100,COLOR_GREEN);
//ILI9341_Fill_Rect(250,120,280,130,COLOR_RED);
//ILI9341_Fill_Rect(180,120,210,130,COLOR_GREEN);
//ILI9341_Fill_Rect(250,150,280,160,COLOR_RED);
//ILI9341_Fill_Rect(180,150,210,160,COLOR_GREEN);
}

void Dibujado_on(int X)
{
ILI9341_Fill_Rect(250,X,280,X+10,COLOR_BLACK);
ILI9341_Fill_Rect(180,X,210,X+10,COLOR_GREEN);
}

void Dibujado_off(int X)
{
ILI9341_Fill_Rect(250,X,280,X+10,COLOR_RED);
ILI9341_Fill_Rect(180,X,210,X+10,COLOR_BLACK);
}

void Inte_Debounce(void)
{
	int aux4;
	//Parte del interruptor debounce
aux4=HAL_GPIO_ReadPin(GPIOD,GPIO_PIN_11);
if(aux4 && estadoA==0){

    HAL_GPIO_TogglePin(GPIOD,GPIO_PIN_12);
				estadoA=1;
	estadoB=0;
		}
if(aux4==0)
{
		 estadoB=1;
     estadoA=0;

   }
//	if(Statein1==1){
//    HAL_GPIO_WritePin(GPIOD,GPIO_PIN_12,1);
//		HAL_Delay(200);
//		estadoA=1;
//		estadoB=0;
//
//	}
//   else{
//     HAL_GPIO_WritePin(GPIOD,GPIO_PIN_12,0);
//		 HAL_Delay(200);
//		 estadoB=1;
//		 estadoA=0;

   //}
aux1=HAL_GPIO_ReadPin(GPIOD,GPIO_PIN_12); //igualamos aux1 al valor del pin 12

if (aux1)
	 Dibujado_on(90);
else
	 Dibujado_off(90);

}

void Inte_Tempo(void)
{
//Parte del interruptor temporizado
				counterVal = __HAL_TIM_GetCounter(&htim2);//capturamos el valor del contador

		//bucle que hace que se apage el led cada cierto tiempo

		if (counterVal < 25000)//EL VALOR LO HE PUESTO ALEATORIAMENTE NO ESTA MEDIDO HABRI QUE CAMBIAR LOS PARAM. EN CONFI.
			{
			if(HAL_GPIO_ReadPin(GPIOA,GPIO_PIN_3)==1)
				{
			   HAL_GPIO_WritePin(GPIOD,GPIO_PIN_14,1);
					Dibujado_on(60);
			  }
		  }else {
			HAL_GPIO_WritePin(GPIOD,GPIO_PIN_14,0);
			Dibujado_off(60);
		    }
}

void Ultrasonidos(void)
{
	//Parte del codigo del sensor de ultrasonido

	 if(echo==0){
	   HAL_GPIO_WritePin(GPIOC,GPIO_PIN_6,1);//CAMBIADO A PC6
     HAL_Delay(1/100);//(1/100) pulsode 10 microsegundos
     HAL_GPIO_WritePin(GPIOC,GPIO_PIN_6,0);
     HAL_Delay(5999/100);//en cero durante 5
		}

		distancia=inputCaptureVal1/58;

    //prueba de que el se encienda si la distancia es menor de 20 cm
		if(distancia<20)
		{
			Dibujado_on(120);
		 HAL_GPIO_WritePin(GPIOC,GPIO_PIN_8,1);
		}
		else if(distancia>25){
			Dibujado_off(120);
			HAL_GPIO_WritePin(GPIOC,GPIO_PIN_8,0);
		}

		echo=HAL_GPIO_ReadPin(GPIOE,GPIO_PIN_9);
		counterVal1=__HAL_TIM_GetCounter(&htim1);

}

void Potenciometro(void)
{
			//parte del potenciometro

			HAL_ADC_Start(&hadc1);

		if(HAL_ADC_PollForConversion(&hadc1,HAL_MAX_DELAY)==HAL_OK)
		{
			ADC_val=HAL_ADC_GetValue(&hadc1);
			duty_cycle=ADC_val/2.55;
			__HAL_TIM_SET_COMPARE(&htim4, TIM_CHANNEL_4,duty_cycle );
		}
		aux2=100-duty_cycle;
		if (aux2!=aux3) //if para dibujar solo cuando el valor cambie, evita parpadeo en pantalla
		{
		Dibujado_Potenciometro(aux2);
			aux3=aux2;
		}
		HAL_ADC_Stop(&hadc1);
}

void Dibujado_Potenciometro(int V)
{
ILI9341_Fill_Rect(280-V,150,280,165,COLOR_BLACK);
ILI9341_Fill_Rect(180,150,280-V,165,COLOR_GREEN);
}

void LDR_ (void) //funcionalidad sustituida por potenciometro
{
		//codigo del ldr

			if(HAL_GPIO_ReadPin(GPIOA,GPIO_PIN_1))//cambiado del A0 a A1
		{
		if (timer>65000)
		a=0;
	if (timer<0)
	  a=1;

	if(a==1)
		timer++;
	if(a==0)
		timer--;
}
		TIM3->CCR2=timer;
	HAL_ADC_PollForConversion (&hadc2, 1000);

		LDR = HAL_ADC_GetValue(&hadc2);

		if(LDR>1100)
			TIM3->CCR3=0;
		else
	TIM3->CCR3=65000-(LDR*65000/1200);

	TIM3->CCR4=(LDR*54);
}

/* USER CODE END 4 */

void _Error_Handler(char *file, int line)
{
  while(1)
  {
  }
}

/************************ (C) COPYRIGHT STMicroelectronics *****END OF FILE****/
